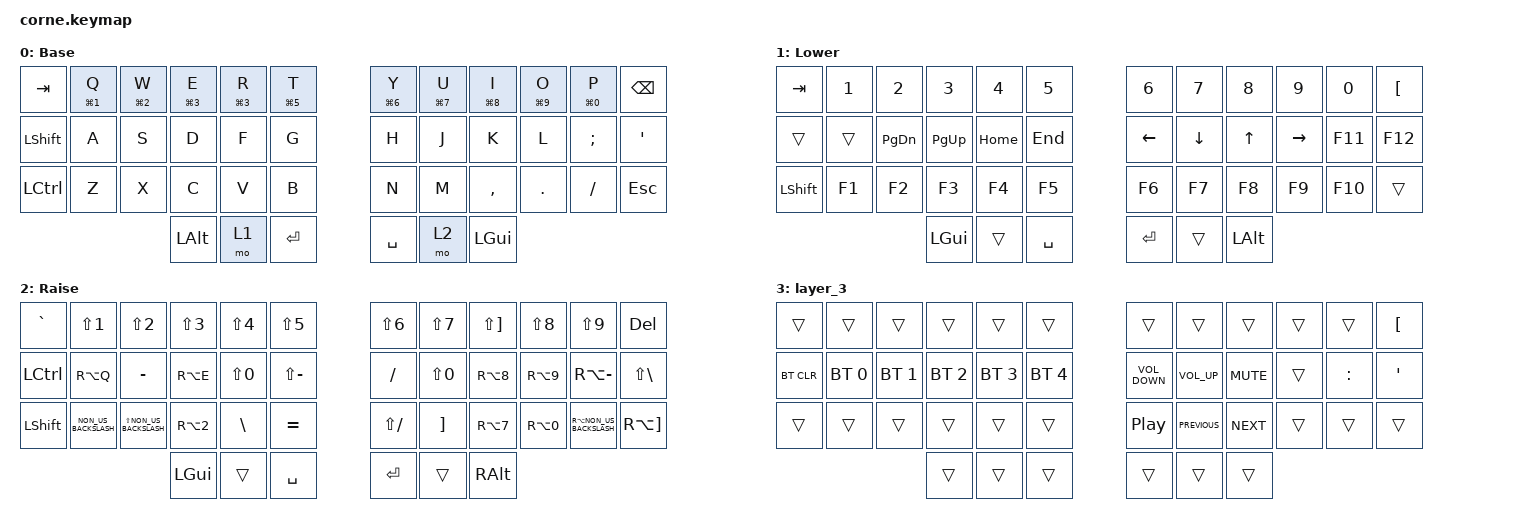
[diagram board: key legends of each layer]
/*
 * Copyright (c) 2020 The ZMK Contributors
 *
 * SPDX-License-Identifier: MIT
 */

#include <behaviors.dtsi>
#include <dt-bindings/zmk/bt.h>
#include <dt-bindings/zmk/keys.h>

&mt {
    tapping-term-ms = <700>;
    flavor = "tap-preferred";
};

/ {
    keymap {
        compatible = "zmk,keymap";

        default_layer {
            // -----------------------------------------------------------------------------------------
            // |  TAB |  Q  |  W  |  E  |  R  |  T  |   |  Y  |  U   |  I  |  O  |  P  | BKSP |
            // | CTRL |  A  |  S  |  D  |  F  |  G  |   |  H  |  J   |  K  |  L  |  ;  |  '   |
            // | SHFT |  Z  |  X  |  C  |  V  |  B  |   |  N  |  M   |  ,  |  .  |  /  | ESC  |
            //                    | GUI | LWR | SPC |   | ENT | RSE  | ALT |

            label = "Base";
            bindings = <
&kp TAB         &mt LG(NUMBER_1) Q  &mt LG(NUMBER_2) W  &mt LG(NUMBER_3) E  &mt LG(NUMBER_3) R  &mt LG(N5) T    &mt LG(NUMBER_6) Y  &mt LG(N7) U  &mt LG(NUMBER_8) I  &mt LG(NUMBER_9) O  &mt LG(NUMBER_0) P  &kp BSPC
&kp LEFT_SHIFT  &kp A               &kp S               &kp D               &kp F               &kp G           &kp H               &kp J         &kp K               &kp L               &kp SEMI            &kp SQT
&kp LCTRL       &kp Z               &kp X               &kp C               &kp V               &kp B           &kp N               &kp M         &kp COMMA           &kp DOT             &kp FSLH            &kp ESC
                                                        &kp LEFT_ALT        &mo 1               &kp ENTER       &kp SPACE           &mo 2         &kp LGUI
            >;
        };

        lower_layer {
            // -----------------------------------------------------------------------------------------
            // |  TAB |  1  |  2  |  3  |  4  |  5  |   |  6  |  7  |  8  |  9  |  0  | BKSP |
            // | BTCLR| BT1 | BT2 | BT3 | BT4 | BT5 |   | LFT | DWN |  UP | RGT |     |      |
            // | SHFT |     |     |     |     |     |   |     |     |     |     |     |      |
            //                    | GUI |     | SPC |   | ENT |     | ALT |

            label = "Lower";
            bindings = <
&kp TAB    &kp N1  &kp N2         &kp N3       &kp N4    &kp N5       &kp N6    &kp N7    &kp N8        &kp N9     &kp N0   &kp LEFT_BRACKET
&trans     &trans  &kp PAGE_DOWN  &kp PAGE_UP  &kp HOME  &kp END      &kp LEFT  &kp DOWN  &kp UP        &kp RIGHT  &kp F11  &kp F12
&kp LSHFT  &kp F1  &kp F2         &kp F3       &kp F4    &kp F5       &kp F6    &kp F7    &kp F8        &kp F9     &kp F10  &trans
                                  &kp LGUI     &trans    &kp SPACE    &kp RET   &trans    &kp LEFT_ALT
            >;
        };

        raise_layer {
            // -----------------------------------------------------------------------------------------
            // |  TAB |  !  |  @  |  #  |  $  |  %  |   |  ^  |  &  |  *  |  (  |  )  | BKSP |
            // | CTRL |     |     |  ä  |  ö  |  ü  |   |  -  |  =  |  [  |  ]  |  \  |  `   |
            // | SHFT |     |     |     |     |     |   |  _  |  +  |  {  |  }  | "|" |  ~   |
            //                    | GUI |     | SPC |   | ENT |     | ALT |

            label = "Raise";
            bindings = <
&kp GRAVE  &kp LS(NUMBER_1)      &kp LS(NUMBER_2)          &kp LS(NUMBER_3)  &kp LS(NUMBER_4)  &kp LS(N5)       &kp LS(NUMBER_6)  &kp LS(NUMBER_7)   &kp LS(RIGHT_BRACKET)  &kp LS(NUMBER_8)  &kp LS(NUMBER_9)          &kp DELETE
&kp LCTRL  &kp RA(Q)             &kp MINUS                 &kp RA(E)         &kp LS(NUMBER_0)  &kp LS(MINUS)    &kp SLASH         &kp LS(NUMBER_0)   &kp RA(NUMBER_8)       &kp RA(NUMBER_9)  &kp RA(MINUS)             &kp LS(BACKSLASH)
&kp LSHFT  &kp NON_US_BACKSLASH  &kp LS(NON_US_BACKSLASH)  &kp RA(NUMBER_2)  &kp BACKSLASH     &kp EQUAL        &kp LS(SLASH)     &kp RIGHT_BRACKET  &kp RA(NUMBER_7)       &kp RA(NUMBER_0)  &kp RA(NON_US_BACKSLASH)  &kp RA(RIGHT_BRACKET)
                                                           &kp LGUI          &trans            &kp SPACE        &kp RET           &trans             &kp RALT
            >;
        };

        layer_3 {
            bindings = <
&trans      &trans        &trans        &trans        &trans        &trans          &trans             &trans           &trans      &trans  &trans     &kp LBKT
&bt BT_CLR  &bt BT_SEL 0  &bt BT_SEL 1  &bt BT_SEL 2  &bt BT_SEL 3  &bt BT_SEL 4    &kp C_VOLUME_DOWN  &kp C_VOLUME_UP  &kp C_MUTE  &trans  &kp COLON  &kp SINGLE_QUOTE
&trans      &trans        &trans        &trans        &trans        &trans          &kp C_PLAY_PAUSE   &kp C_PREVIOUS   &kp C_NEXT  &trans  &trans     &trans
                                        &trans        &trans        &trans          &trans             &trans           &trans
            >;
        };
    };

    conditional_layers {
        compatible = "zmk,conditional-layers";

        third {
            if-layers = <1 2>;
            then-layer = <3>;
        };
    };
};
